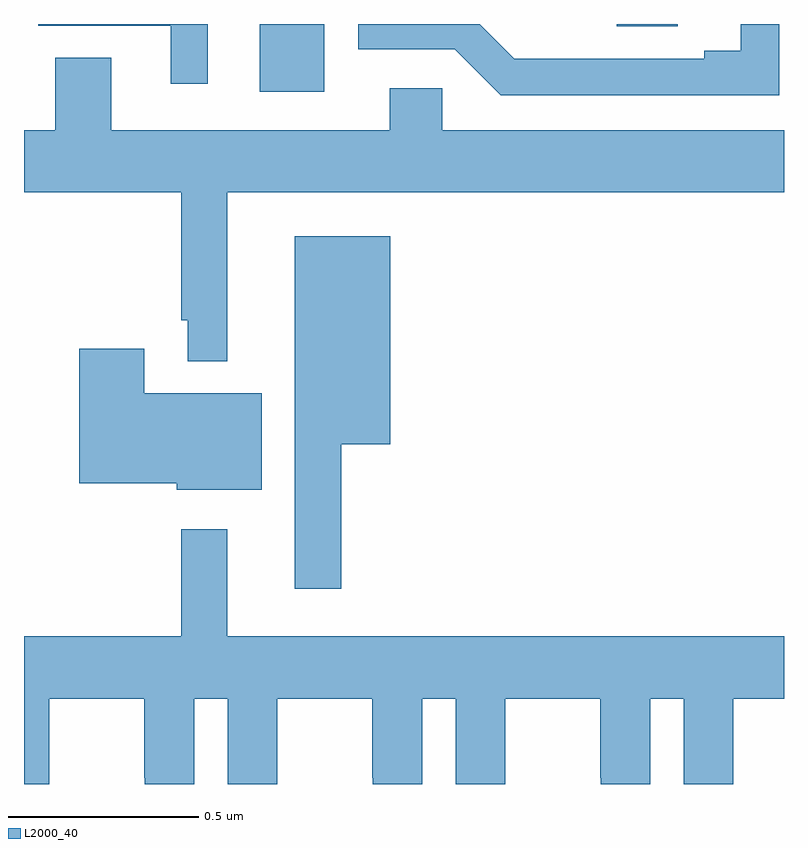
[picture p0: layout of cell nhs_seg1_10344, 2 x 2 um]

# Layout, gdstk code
import gdstk
lib = gdstk.Library(unit=1e-6, precision=1e-09)
def R(c, l, rs):  # rectangles x0, y0, x1, y1
    for r in rs: c.add(gdstk.rectangle(r[:2], r[2:], *l))
def P(c, l, *ps):  # polygons
    for p in ps: c.add(gdstk.Polygon(p, *l))
L2000_40 = (2000, 40)

nhs_seg1_10344 = lib.new_cell('nhs_seg1_10344')
R(nhs_seg1_10344, L2000_40, [(240.62,528.021,240.79,528.199), (241.56,528.193,241.72,528.199)])
P(nhs_seg1_10344, L2000_40, [(240.484,528.199),(240.037,528.199),(240.037,528.195),(240.386,528.195),(240.386,528.042),(240.484,528.042)],
  [(241.988,528.199),(241.886,528.199),(241.886,528.128),(241.79,528.128),(241.79,528.108),(241.29,528.108),(241.199,528.199),(240.879,528.199),(240.879,528.132),(241.134,528.132),(241.254,528.012),(241.988,528.012)],
  [(240.535,527.756),(242,527.756),(242,527.92),(241.101,527.92),(241.101,528.03),(240.962,528.03),(240.962,527.92),(240.229,527.92),(240.229,528.11),(240.082,528.11),(240.082,527.92),(240,527.92),(240,527.756),(240.414,527.756),(240.414,527.419),(240.431,527.419),(240.431,527.312),(240.535,527.312)],
  [(240.835,527.093),(240.964,527.093),(240.964,527.641),(240.713,527.641),(240.713,526.713),(240.835,526.713)],
  [(240.625,527.227),(240.316,527.227),(240.316,527.344),(240.146,527.344),(240.146,526.991),(240.402,526.991),(240.402,526.973),(240.625,526.973)],
  [(240.066,526.216),(240.067,526.216),(240.067,526.424),(240.317,526.424),(240.317,526.216),(240.318,526.216),(240.318,526.199),(240.448,526.199),(240.448,526.424),(240.536,526.424),(240.536,526.199),(240.666,526.199),(240.666,526.216),(240.667,526.216),(240.667,526.424),(240.917,526.424),(240.917,526.216),(240.918,526.216),(240.918,526.199),(241.048,526.199),(241.048,526.424),(241.136,526.424),(241.136,526.199),(241.266,526.199),(241.266,526.216),(241.267,526.216),(241.267,526.424),(241.517,526.424),(241.517,526.216),(241.518,526.216),(241.518,526.199),(241.648,526.199),(241.648,526.424),(241.736,526.424),(241.736,526.199),(241.866,526.199),(241.866,526.216),(241.867,526.216),(241.867,526.424),(242,526.424),(242,526.588),(240.535,526.588),(240.535,526.87),(240.414,526.87),(240.414,526.588),(240,526.588),(240,526.199),(240.066,526.199)])

lib.write_gds('nhs_seg1_10344.gds')
